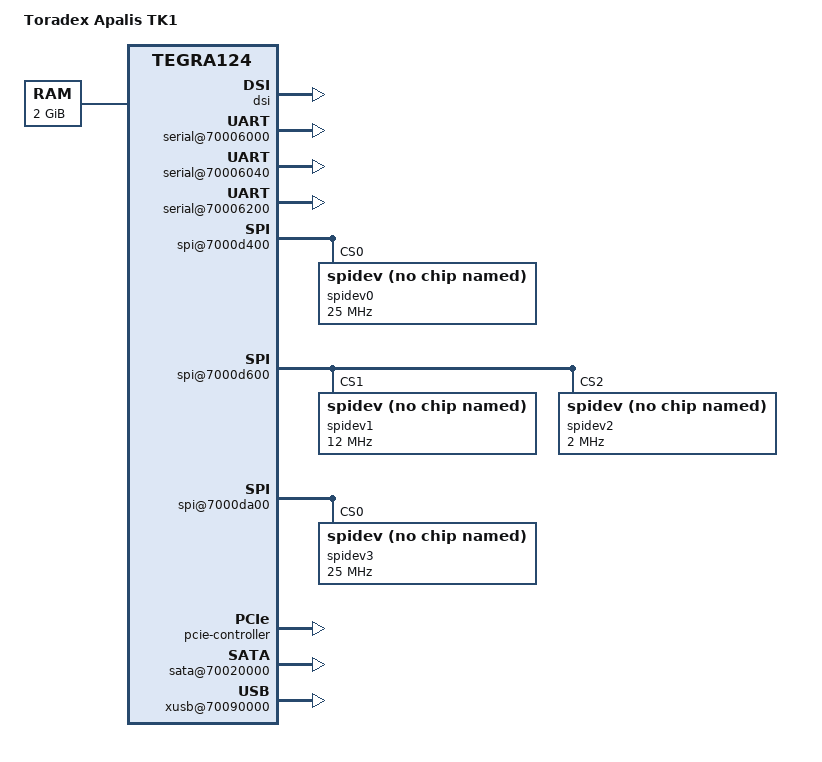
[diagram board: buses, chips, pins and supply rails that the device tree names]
/dts-v1/;

#include "tegra124-soc-shield.dtsi"
#include "tegra124-platforms/tegra124-apalis-keys.dtsi"
#include "tegra124-platforms/tegra124-apalis-gpio.dtsi"
#include "tegra124-platforms/tegra124-apalis-pinmux.dtsi"
#include "tegra124-platforms/tegra124-apalis-pmic.dtsi"
#include "tegra124-platforms/tegra124-apalis-fixed.dtsi"
#include "panel-p-wuxga-10-1.dtsi"
#include "tegra124-platforms/tegra124-laguna-hdmi-pm375-1000-a00.dtsi"

/ {
	model = "Toradex Apalis TK1";
	compatible = "toradex,apalis-tk1", "nvidia,tegra124";
	nvidia,dtsfilename = __FILE__;
	#address-cells = <2>;
	#size-cells = <2>;

	chosen {
		bootargs = "tegraid=40.0.0.00.00 vmalloc=256M video=tegrafb console=ttyS0,115200n8 earlyprintk";
	};

	firmware {
		android {
			compatible = "android,firmware";
			hardware = "tegra";
		};
	};

	psci {
		status = "disabled";
	};

	host1x {
		/* tegradc.0 */
		dc@54200000 {
			status = "okay";
			nvidia,dc-flags = <TEGRA_DC_FLAG_ENABLED>;
			nvidia,emc-clk-rate = <204000000>;
			nvidia,cmu-enable = <1>;
			nvidia,low-v-win = <0x2>;
			nvidia,fb-bpp = <32>; /* bits per pixel */
			nvidia,fb-flags = <TEGRA_FB_FLIP_ON_PROBE>;
		};
		/* tegradc.1 */
		dc@54240000 {
			status = "okay";
			nvidia,dc-flags = <TEGRA_DC_FLAG_ENABLED>;
			nvidia,emc-clk-rate = <300000000>;
			nvidia,fb-bpp = <32>; /* bits per pixel */
			nvidia,fb-flags = <TEGRA_FB_FLIP_ON_PROBE>;
		};
		dsi {
			nvidia,dsi-controller-vs = <1>;
			status = "okay";
			panel-p-wuxga-10-1 {
				nvidia,dsi-dpd-pads = <DSIC_DPD_EN DSID_DPD_EN>;
				nvidia,panel-rst-gpio = <&gpio TEGRA_GPIO(H, 3) 0>; /* PH3 */
				nvidia,panel-bl-pwm-gpio = <&gpio TEGRA_GPIO(H, 1) 0>; /* PH1 */
			};
		};
	};

	pinmux@70000868 {
                pinctrl-names = "default", "drive", "unused", "suspend";
                pinctrl-3 = <&pinmux_suspend>;

                /* Change the pin dap_mclk1_req to required configurations */
                unused_lowpower {
                        dap_mclk1_req_pee2 {
                        nvidia,pins = "dap_mclk1_req_pee2";
                        nvidia,function = "sata";
                        nvidia,enable-input = <TEGRA_PIN_DISABLE>;
                        nvidia,pull = <TEGRA_PIN_PULL_NONE>;
                        nvidia,tristate = <TEGRA_PIN_DISABLE>;
                        };
                };

                /* On suspend, make dap_mclk1_req to pull up */
                pinmux_suspend: pins_on_suspend {
                dap_mclk1_req_pee2 {
                        nvidia,pins = "dap_mclk1_req_pee2";
                        nvidia,pull = <TEGRA_PIN_PULL_UP>;
                        };
                };
        };

	/* Apalis UART1 */
	serial@70006000 {
		compatible = "nvidia,tegra114-uart", "nvidia,tegra20-uart";
		status = "okay";
	};

	/* Apalis UART2 */
	serial@70006040 {
		compatible = "nvidia,tegra114-hsuart";
		status = "okay";
	};

	/* Apalis UART3 */
	serial@70006200 {
		compatible = "nvidia,tegra114-hsuart";
		status = "okay";
	};

/* TBD: Apalis UART4
	serial@70006300 {
		compatible = "nvidia,tegra114-hsuart";
		status = "okay";
	};
*/
	/* PWR_I2C: power I2C to audio codec, PMIC and temperature sensor */
	i2c@7000d000 {
		nvidia,bit-banging-xfer-after-shutdown;
	};

	memory@0x80000000 {
		device_type = "memory";
		reg = <0x0 0x80000000 0x0 0x80000000>;
	};

	/* TBD */
	camera-pcl {
		profiles {
			ov4689@2_0036 {
				use_of_node = "yes";
				reset-gpios = <&gpio TEGRA_GPIO(BB, 3) 0>;
				cam1-gpios = <&gpio TEGRA_GPIO(BB, 5) 0>;
			};
			imx185@2_001A {
				use-of-node = "yes";
				cam1-gpios = <&gpio TEGRA_GPIO(BB, 5) 0>;
			};
		};
		dpd {
			default-enable;
		};
	};

	/* SPI1: Apalis SPI1 */
	spi@7000d400 {
		status = "okay";
		spi-max-frequency = <25000000>;

		spidev0: spidev@0 {
			compatible = "spidev";
			reg = <0>;
			spi-max-frequency = <25000000>;
		};
	};

	/* SPI2: MCU SPI */
	spi@7000d600 {
		status = "okay";
		spi-max-frequency = <25000000>;

		spidev1: spidev@1 {
			compatible = "spidev";
			reg = <1>;
			spi-max-frequency = <12000000>;
		};

		spidev2: spidev@2 {
			compatible = "spidev";
			reg = <2>;
			spi-max-frequency = <2000000>;
		};
	};

	/* SPI4: Apalis SPI2 */
	spi@7000da00 {
		status = "okay";
		spi-max-frequency = <25000000>;

		spidev3: spidev@0 {
			compatible = "spidev";
			reg = <0>;
			spi-max-frequency = <25000000>;
		};
	};

	pmc {
		status = "okay";
		nvidia,invert-interrupt;
		nvidia,suspend-mode = <0>;
		nvidia,cpu-pwr-good-time = <500>;
		nvidia,cpu-pwr-off-time = <300>;
		nvidia,core-pwr-good-time = <3845 3845>;
		nvidia,core-pwr-off-time = <2000>;
		nvidia,core-power-req-active-high;
		nvidia,sys-clock-req-active-high;
		nvidia,lp0-vec = <0xf46ff000 2064>;
	};

	pcie-controller {
		nvidia,port0_status = <1>;
		nvidia,port1_status = <1>;
		status = "okay";
	};

        sata@70020000 {
		nvidia,enable-sata-port;
		nvidia,sata-connector-type=<STANDARD_SATA>;
		vdd_sata-supply = <&as3722_sd4>;
		avdd_sata_pll-supply =<&as3722_sd4>;
		avdd_sata-supply = <&as3722_sd4>;
		hvdd_sata-supply = <&reg_3v3>;
		vddio_pex_sata-supply = <&reg_3v3>;
		status = "okay";
	};

	/* TBD */
	xusb@70090000 {
		/* nvidia,uses_external_pmic;
		nvidia,gpio_controls_muxed_ss_lanes; */
		nvidia,gpio_ss1_sata = <0>;
		nvidia,portmap = <0x0703>; /* SSP0, SSP1 USB2P0, USB2P1, USB2P2 */
		nvidia,ss_portmap = <0x72>; /* SSP0 on USB2P2 */
		nvidia,lane_owner = <6>; /* USB3P0 USB3P1 */
		nvidia,ulpicap = <0>; /* No ulpi support. can we remove */
		/* nvidia,supply_utmi_vbuses = "usb_vbus0", "usb_vbus1", "usb_vbus2";
		nvidia,supply_s3p3v = "hvdd_usb";
		nvidia,supply_s1p8v = "avdd_pll_utmip";
		nvidia,supply_s1p05v = "avddio_usb"; */
		status = "okay";
	};
};
